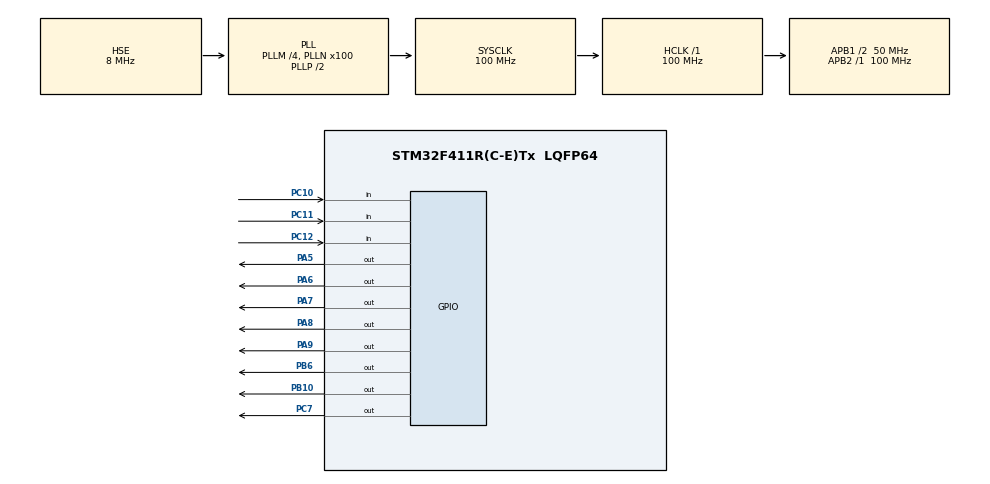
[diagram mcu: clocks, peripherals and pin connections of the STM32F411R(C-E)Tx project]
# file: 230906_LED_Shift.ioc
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Mcu.Family=STM32F4
Mcu.Name=STM32F411R(C-E)Tx
Mcu.Package=LQFP64
NVIC.PriorityGroup=NVIC_PRIORITYGROUP_4
PA13.Mode=Serial_Wire
PA13.Signal=SYS_JTMS-SWDIO
PA14.Mode=Serial_Wire
PA14.Signal=SYS_JTCK-SWCLK
PA5.GPIO_PuPd=GPIO_NOPULL
PA5.PinState=GPIO_PIN_SET
PA5.Signal=GPIO_Output
PA6.GPIO_PuPd=GPIO_NOPULL
PA6.PinState=GPIO_PIN_SET
PA6.Signal=GPIO_Output
PA7.GPIO_PuPd=GPIO_NOPULL
PA7.PinState=GPIO_PIN_SET
PA7.Signal=GPIO_Output
PA8.GPIO_PuPd=GPIO_NOPULL
PA8.PinState=GPIO_PIN_SET
PA8.Signal=GPIO_Output
PA9.GPIO_PuPd=GPIO_NOPULL
PA9.PinState=GPIO_PIN_SET
PA9.Signal=GPIO_Output
PB10.GPIO_PuPd=GPIO_NOPULL
PB10.PinState=GPIO_PIN_SET
PB10.Signal=GPIO_Output
PB6.GPIO_PuPd=GPIO_NOPULL
PB6.PinState=GPIO_PIN_SET
PB6.Signal=GPIO_Output
PC10.GPIO_Mode=GPIO_MODE_INPUT
PC10.GPIO_PuPd=GPIO_NOPULL
PC10.Signal=GPIO_Input
PC11.GPIO_Mode=GPIO_MODE_INPUT
PC11.GPIO_PuPd=GPIO_NOPULL
PC11.Signal=GPIO_Input
PC12.GPIO_Mode=GPIO_MODE_INPUT
PC12.GPIO_PuPd=GPIO_NOPULL
PC12.Signal=GPIO_Input
PC7.GPIO_PuPd=GPIO_NOPULL
PC7.PinState=GPIO_PIN_SET
PC7.Signal=GPIO_Output
PH0\ -\ OSC_IN.Mode=HSE-External-Oscillator
PH0\ -\ OSC_IN.Signal=RCC_OSC_IN
PH1\ -\ OSC_OUT.Mode=HSE-External-Oscillator
PH1\ -\ OSC_OUT.Signal=RCC_OSC_OUT
ProjectManager.HeapSize=0x200
ProjectManager.StackSize=0x400
ProjectManager.TargetToolchain=STM32CubeIDE
RCC.48MHZClocksFreq_Value=50000000
RCC.AHBFreq_Value=100000000
RCC.APB1CLKDivider=RCC_HCLK_DIV2
RCC.APB1Freq_Value=50000000
RCC.APB1TimFreq_Value=100000000
RCC.APB2Freq_Value=100000000
RCC.APB2TimFreq_Value=100000000
RCC.CortexFreq_Value=100000000
RCC.HCLKFreq_Value=100000000
RCC.HSE_VALUE=8000000
RCC.HSI_VALUE=16000000
RCC.LSE_VALUE=32768
RCC.PLLM=4
RCC.PLLN=100
RCC.PLLSourceVirtual=RCC_PLLSOURCE_HSE
RCC.SYSCLKFreq_VALUE=100000000
RCC.SYSCLKSource=RCC_SYSCLKSOURCE_PLLCLK
RCC.VCOOutputFreq_Value=200000000
board=custom

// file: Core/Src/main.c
/* USER CODE BEGIN Header */
/**
  ******************************************************************************
  * @file           : main.c
  * @brief          : Main program body
  ******************************************************************************
  * @attention
  *
  * Copyright (c) 2023 STMicroelectronics.
  * All rights reserved.
  *
  * This software is licensed under terms that can be found in the LICENSE file
  * in the root directory of this software component.
  * If no LICENSE file comes with this software, it is provided AS-IS.
  *
  ******************************************************************************
  */
/* USER CODE END Header */
#include "main.h"
#include "gpio.h"

/* USER CODE BEGIN Includes */

#include "button.h"

/* USER CODE END Includes */

void SystemClock_Config(void);
/* USER CODE BEGIN PFP */

void Delay(int n);

/* USER CODE END PFP */

int main(void)
{
  /* USER CODE BEGIN 1 */
  Button shift;
  /* USER CODE END 1 */

  /* MCU Configuration--------------------------------------------------------*/

  /* Reset of all peripherals, Initializes the Flash interface and the Systick. */
  HAL_Init();

  /* USER CODE BEGIN Init */
  //Button_Init(&shift, GPIOC, GPIO_PIN_10);
  /* USER CODE END Init */

  /* Configure the system clock */
  SystemClock_Config();

  /* Initialize all configured peripherals */
  MX_GPIO_Init();
  /* USER CODE BEGIN 2 */
  GPIO_TypeDef *led2_GPIO[8] =  // pin order: PA_5,6,7, PB_6, PC_7, PA_9,8, PB_10
        {
            GPIOA, GPIOA, GPIOA, GPIOB,
            GPIOC, GPIOA, GPIOA, GPIOB
        };
  GPIO_TypeDef *led2_GPIO_PIN[8] =  // pin order: PA_5,6,7, PB_6, PC_7, PA_9,8, PB_10
      {
          GPIO_PIN_5, GPIO_PIN_6, GPIO_PIN_7, GPIO_PIN_6,
          GPIO_PIN_7, GPIO_PIN_9, GPIO_PIN_8, GPIO_PIN_10
      };
  uint8_t state = 0;

  /* USER CODE END 2 */

  /* Infinite loop */
  while (1)
  {

    /* USER CODE BEGIN 3 */
    if(!(HAL_GPIO_ReadPin(GPIOC, GPIO_PIN_10))){
      for(int i=0; i<8; i++)
      {
        HAL_GPIO_WritePin(led2_GPIO[i], led2_GPIO_PIN[i], 1);
        HAL_Delay(150);
        HAL_GPIO_WritePin(led2_GPIO[i], led2_GPIO_PIN[i], 0);
      }
    }

    if(!(HAL_GPIO_ReadPin(GPIOC, GPIO_PIN_11))){
          for(int i=7; i>=0; i--)
          {
            HAL_GPIO_WritePin(led2_GPIO[i], led2_GPIO_PIN[i], 1);
            HAL_Delay(150);
            HAL_GPIO_WritePin(led2_GPIO[i], led2_GPIO_PIN[i], 0);
          }
    }

    if(!(HAL_GPIO_ReadPin(GPIOC, GPIO_PIN_12))){
      for(int i=0; i<8; i++)
      {
        HAL_GPIO_WritePin(led2_GPIO[i], led2_GPIO_PIN[i], 1);
        HAL_Delay(150);
        HAL_GPIO_WritePin(led2_GPIO[i], led2_GPIO_PIN[i], 0);
      }
      for(int i=7; i>=0; i--)
      {
        HAL_GPIO_WritePin(led2_GPIO[i], led2_GPIO_PIN[i], 1);
        HAL_Delay(150);
        HAL_GPIO_WritePin(led2_GPIO[i], led2_GPIO_PIN[i], 0);
      }
    }
  }
  /* USER CODE END 3 */
}

void SystemClock_Config(void)
{
  RCC_OscInitTypeDef RCC_OscInitStruct = {0};
  RCC_ClkInitTypeDef RCC_ClkInitStruct = {0};

  /** Configure the main internal regulator output voltage
  */
  __HAL_RCC_PWR_CLK_ENABLE();
  __HAL_PWR_VOLTAGESCALING_CONFIG(PWR_REGULATOR_VOLTAGE_SCALE1);

  /** Initializes the RCC Oscillators according to the specified parameters
  * in the RCC_OscInitTypeDef structure.
  */
  RCC_OscInitStruct.OscillatorType = RCC_OSCILLATORTYPE_HSE;
  RCC_OscInitStruct.HSEState = RCC_HSE_ON;
  RCC_OscInitStruct.PLL.PLLState = RCC_PLL_ON;
  RCC_OscInitStruct.PLL.PLLSource = RCC_PLLSOURCE_HSE;
  RCC_OscInitStruct.PLL.PLLM = 4;
  RCC_OscInitStruct.PLL.PLLN = 100;
  RCC_OscInitStruct.PLL.PLLP = RCC_PLLP_DIV2;
  RCC_OscInitStruct.PLL.PLLQ = 4;
  if (HAL_RCC_OscConfig(&RCC_OscInitStruct) != HAL_OK)
  {
    Error_Handler();
  }

  /** Initializes the CPU, AHB and APB buses clocks
  */
  RCC_ClkInitStruct.ClockType = RCC_CLOCKTYPE_HCLK|RCC_CLOCKTYPE_SYSCLK
                              |RCC_CLOCKTYPE_PCLK1|RCC_CLOCKTYPE_PCLK2;
  RCC_ClkInitStruct.SYSCLKSource = RCC_SYSCLKSOURCE_PLLCLK;
  RCC_ClkInitStruct.AHBCLKDivider = RCC_SYSCLK_DIV1;
  RCC_ClkInitStruct.APB1CLKDivider = RCC_HCLK_DIV2;
  RCC_ClkInitStruct.APB2CLKDivider = RCC_HCLK_DIV1;

  if (HAL_RCC_ClockConfig(&RCC_ClkInitStruct, FLASH_LATENCY_3) != HAL_OK)
  {
    Error_Handler();
  }
}

/* USER CODE BEGIN 4 */
void Delay(int n){
  for(int i = 0 ;i<n;i++){
    HAL_Delay(1);
  }
}
/* USER CODE END 4 */

void Error_Handler(void)
{
  __disable_irq();
  while (1)
  {
  }
}
